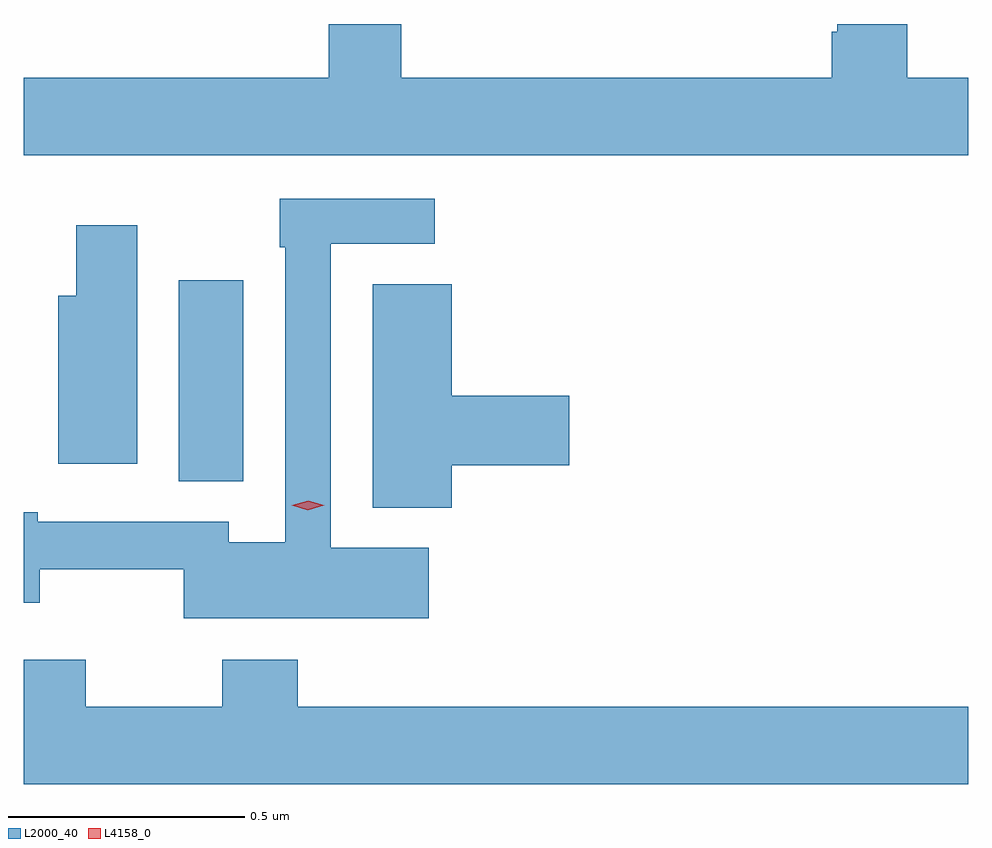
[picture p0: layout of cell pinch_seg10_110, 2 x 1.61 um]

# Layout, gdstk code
import gdstk
lib = gdstk.Library(unit=1e-6, precision=1e-09)
def R(c, l, rs):  # rectangles x0, y0, x1, y1
    for r in rs: c.add(gdstk.rectangle(r[:2], r[2:], *l))
def P(c, l, *ps):  # polygons
    for p in ps: c.add(gdstk.Polygon(p, *l))
L2000_40 = (2000, 40)
L4158_0 = (4158, 0)

pinch_seg10_110 = lib.new_cell('pinch_seg10_110')
R(pinch_seg10_110, L2000_40, [(677.06,1302.289,677.197,1302.715)])
P(pinch_seg10_110, L2000_40, [(678.732,1303.144),(678.603,1303.144),(678.603,1303.258),(678.455,1303.258),(678.455,1303.242),(678.443,1303.242),(678.443,1303.144),(677.531,1303.144),(677.531,1303.258),(677.378,1303.258),(677.378,1303.144),(676.732,1303.144),(676.732,1302.98),(678.732,1302.98)],
  [(677.59,1302.148),(677.382,1302.148),(677.382,1302.792),(677.602,1302.792),(677.602,1302.888),(677.274,1302.888),(677.274,1302.785),(677.286,1302.785),(677.286,1302.16),(677.166,1302.16),(677.166,1302.204),(676.761,1302.204),(676.761,1302.224),(676.732,1302.224),(676.732,1302.032),(676.765,1302.032),(676.765,1302.103),(677.07,1302.103),(677.07,1301.999),(677.59,1301.999)],
  [(676.972,1302.832),(676.843,1302.832),(676.843,1302.682),(676.805,1302.682),(676.805,1302.326),(676.972,1302.326)],
  [(677.638,1302.323),(677.887,1302.323),(677.887,1302.47),(677.638,1302.47),(677.638,1302.707),(677.471,1302.707),(677.471,1302.233),(677.638,1302.233)],
  [(677.152,1301.911),(677.152,1301.812),(676.863,1301.812),(676.863,1301.911),(676.732,1301.911),(676.732,1301.648),(678.732,1301.648),(678.732,1301.812),(677.312,1301.812),(677.312,1301.911)])
P(pinch_seg10_110, L4158_0, [(677.333,1302.228),(677.299,1302.239),(677.299,1302.239),(677.299,1302.239),(677.334,1302.248),(677.368,1302.238),(677.368,1302.238),(677.368,1302.238)])

lib.write_gds('pinch_seg10_110.gds')
